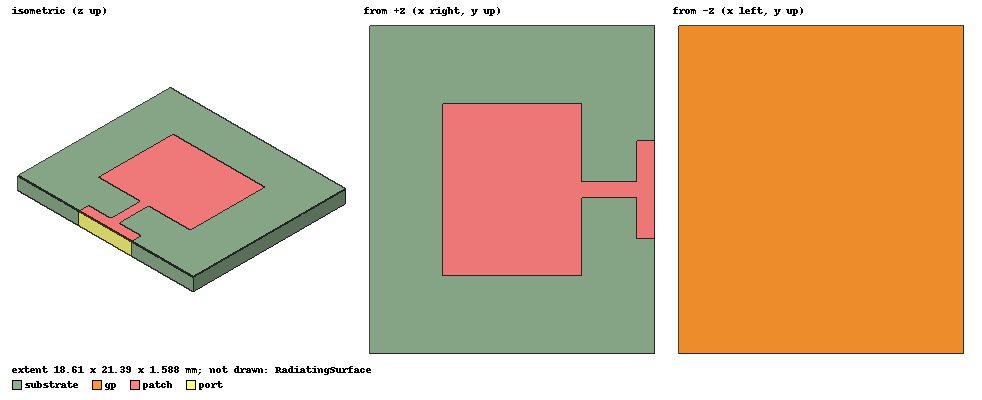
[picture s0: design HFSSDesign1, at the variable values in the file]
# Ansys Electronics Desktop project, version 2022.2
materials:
  vacuum: permittivity=1
  Rogers Ultralam1217 (tm): permittivity=2.17 dielectric_loss_tangent=0.0009
  Rogers RT/duroid 5880 (tm): permittivity=2.2 dielectric_loss_tangent=0.0009
  copper: permeability=0.999991 conductivity=58000000
  air: permittivity=1.0006 permeability=1.0000004

design HFSSDesign1 (HFSS, DrivenTerminal, model units mm)
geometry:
  gp = rectangle(corner=((-18.608/2) mm, (-21.388/2) mm, 1e-07mm), x_size=18.608mm, y_size=21.388mm)
  substrate [Rogers RT/duroid 5880 (tm)] = box(corner=(-9.304mm, -10.694mm, 0mm), size=(18.608mm, 21.388mm, 1.588mm))
  patch = rectangle(corner=((-9.08/2) mm, (-11.186/2) mm, 1.588mm), x_size=9.08mm, y_size=11.186mm)
  tran = rectangle(corner=(4.54mm, (-1.002/2) mm, 1.588mm), x_size=3.601mm, y_size=1.002mm)
  Rectangle1 = rectangle(corner=(8.141mm, (-6.397/2) mm, 1.588mm), x_size=1.163mm, y_size=6.397mm)
  patch.unite(Rectangle1, tran)
  port = rectangle(corner=(9.304mm, -3.1985mm, 1.588mm), y_size=6.397mm, z_size=-1.588mm)
  point Point1 = (0mm, 0mm, 15mm)
  RadiatingSurface [vacuum] = region(absolute_offset=10mm on all sides)
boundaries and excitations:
  PerfE1: Perfect E Objects=[patch, gp]
  Open1: Radiation Objects=RadiatingSurface
  patch_T1: Terminal port=1 Edges=patch.edge(2 of 4) TerminalResistance=50ohm
  IncPWave1: Plane Incident Wave PhiStart=-180deg PhiStop=180deg PhiPoints=721 ThetaStart=90deg ThetaStop=90deg ThetaPoints=1 EoPhi=0 EoTheta=1 OriginX=0mm OriginY=0mm OriginZ=0mm IsPropagating
  1: Lumped Port Faces=port.face Impedance=50ohm
  reference conductors: gp
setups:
  Setup1: HfssDriven Frequency=10GHz MaxDeltaS=0.02 MaximumPasses=20 MinimumPasses=1 MinimumConvergedPasses=1 PercentRefinement=30 BasisOrder=1 PortAccuracy=2 DrivenSolverType="Domain Decomposition" IterativeResidual=1e-06 DDMSolverResidual=0.0001
    sweep Sweep: 5GHz to 15GHz, 401 points; Type=Interpolating InterpTolerance=0.5 InterpMaxSolns=250 PassivityErrorTolerance=0.0001
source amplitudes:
  1:1: 1V 0deg
  IncPWave1:1: 0 0deg
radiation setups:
  3D: Infinite Sphere Theta=0deg..180deg step 2deg Phi=-180deg..180deg step 2deg
  Elevation: Infinite Sphere Theta=-180deg..180deg step 1deg Phi=0deg..90deg step 90deg
  Azimuth: Infinite Sphere Theta=90deg..90deg step 0deg Phi=-180deg..180deg step 1deg
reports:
  Directivity Plot 2_1: dB(DirTotal) vs Freq
  Terminal S Parameter Plot 1: dB(St(patch_T1,patch_T1)) vs Freq on Setup1 : Sweep
